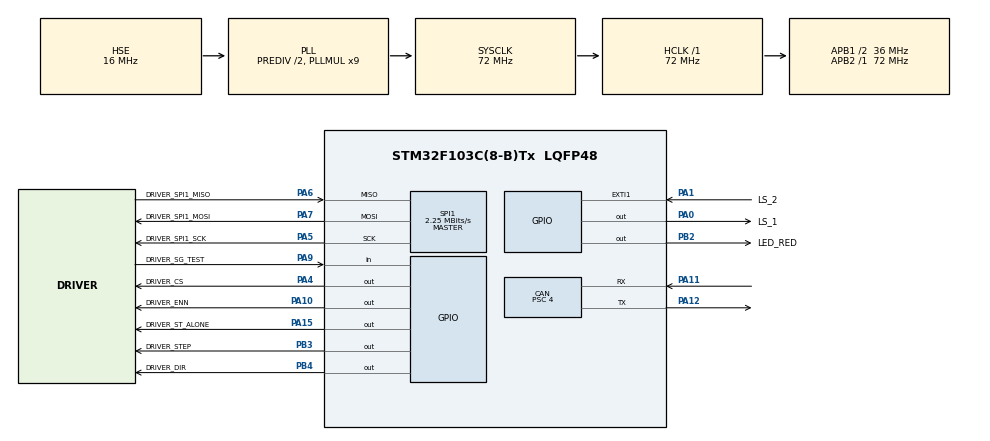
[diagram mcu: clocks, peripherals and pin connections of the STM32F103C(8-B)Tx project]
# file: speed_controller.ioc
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CAN.BS1=CAN_BS1_15TQ
CAN.BS2=CAN_BS2_2TQ
CAN.CalculateBaudRate=500000
CAN.CalculateTimeBit=2000
CAN.CalculateTimeQuantum=111.11111111111111
CAN.NART=ENABLE
CAN.Prescaler=4
CAN.SJW=CAN_SJW_2TQ
Mcu.Family=STM32F1
Mcu.Name=STM32F103C(8-B)Tx
Mcu.Package=LQFP48
NVIC.EXTI1_IRQn=true\:1\:0\:true\:false\:true\:true\:true\:true
NVIC.PriorityGroup=NVIC_PRIORITYGROUP_4
NVIC.USB_LP_CAN1_RX0_IRQn=true\:0\:0\:false\:false\:true\:true\:true\:true
PA0-WKUP.GPIO_Label=LS_1
PA0-WKUP.Signal=GPIO_Output
PA1.GPIO_Label=LS_2
PA1.GPIO_ModeDefaultEXTI=GPIO_MODE_IT_RISING_FALLING
PA1.GPIO_PuPd=GPIO_PULLUP
PA1.Signal=GPXTI1
PA10.GPIO_Label=DRIVER_ENN
PA10.Signal=GPIO_Output
PA11.Mode=CAN_Activate
PA11.Signal=CAN_RX
PA12.Mode=CAN_Activate
PA12.Signal=CAN_TX
PA13.GPIO_Label=J7_SWDIO
PA13.Mode=Serial_Wire
PA13.Signal=SYS_JTMS-SWDIO
PA14.GPIO_Label=J7_SWCLK
PA14.Mode=Serial_Wire
PA14.Signal=SYS_JTCK-SWCLK
PA15.GPIO_Label=DRIVER_ST_ALONE
PA15.Signal=GPIO_Output
PA4.GPIO_Label=DRIVER_CS
PA4.Signal=GPIO_Output
PA5.GPIO_Label=DRIVER_SPI1_SCK
PA5.Mode=Full_Duplex_Master
PA5.Signal=SPI1_SCK
PA6.GPIO_Label=DRIVER_SPI1_MISO
PA6.Mode=Full_Duplex_Master
PA6.Signal=SPI1_MISO
PA7.GPIO_Label=DRIVER_SPI1_MOSI
PA7.Mode=Full_Duplex_Master
PA7.Signal=SPI1_MOSI
PA9.GPIO_Label=DRIVER_SG_TEST
PA9.Signal=GPIO_Input
PB2.GPIO_Label=LED_RED
PB2.Signal=GPIO_Output
PB3.GPIO_Label=DRIVER_STEP
PB3.Signal=GPIO_Output
PB4.GPIO_Label=DRIVER_DIR
PB4.Signal=GPIO_Output
PD0-OSC_IN.Mode=HSE-External-Oscillator
PD0-OSC_IN.Signal=RCC_OSC_IN
PD1-OSC_OUT.Mode=HSE-External-Oscillator
PD1-OSC_OUT.Signal=RCC_OSC_OUT
ProjectManager.HeapSize=0x200
ProjectManager.StackSize=0x400
ProjectManager.TargetToolchain=STM32CubeIDE
RCC.AHBFreq_Value=72000000
RCC.APB1CLKDivider=RCC_HCLK_DIV2
RCC.APB1Freq_Value=36000000
RCC.APB1TimFreq_Value=72000000
RCC.APB2Freq_Value=72000000
RCC.APB2TimFreq_Value=72000000
RCC.HCLKFreq_Value=72000000
RCC.HSEDivPLL=RCC_HSE_PREDIV_DIV2
RCC.HSE_VALUE=16000000
RCC.PLLMUL=RCC_PLL_MUL9
RCC.PLLSourceVirtual=RCC_PLLSOURCE_HSE
RCC.SYSCLKFreq_VALUE=72000000
RCC.SYSCLKSource=RCC_SYSCLKSOURCE_PLLCLK
RCC.USBFreq_Value=72000000
SPI1.BaudRatePrescaler=SPI_BAUDRATEPRESCALER_32
SPI1.CalculateBaudRate=2.25 MBits/s
SPI1.Direction=SPI_DIRECTION_2LINES
SPI1.Mode=SPI_MODE_MASTER
SPI1.VirtualType=VM_MASTER
board=custom

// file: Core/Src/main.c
/* USER CODE BEGIN Header */
/**
  ******************************************************************************
  * @file           : main.c
  * @brief          : Main program body
  ******************************************************************************
  * @attention
  *
  * Copyright (c) 2024 STMicroelectronics.
  * All rights reserved.
  *
  * This software is licensed under terms that can be found in the LICENSE file
  * in the root directory of this software component.
  * If no LICENSE file comes with this software, it is provided AS-IS.
  *
  ******************************************************************************
  */
/* USER CODE END Header */
#include "main.h"

/* USER CODE BEGIN PM */
//#define LS_INVERT_DIR
/* USER CODE END PM */

CAN_HandleTypeDef hcan;

SPI_HandleTypeDef hspi1;

/* USER CODE BEGIN PV */
CAN_TxHeaderTypeDef TxHeader;
uint8_t TxData[8];
uint32_t TxMailbox;

// CAN Rx
CAN_FilterTypeDef canfilterconfig;
CAN_RxHeaderTypeDef RxHeader;
uint8_t RxData[8];
int speed;
uint32_t timer;
LS_STATE ls_state = RELEASED;

uint8_t can_id = 0x2;
/* USER CODE END PV */

void SystemClock_Config(void);
static void MX_GPIO_Init(void);
static void MX_SPI1_Init(void);
static void MX_CAN_Init(void);

/* USER CODE BEGIN 0 */

void setupTxCAN()
{
    TxHeader.StdId = 0x321;
    TxHeader.ExtId = can_id;
    TxHeader.RTR = CAN_RTR_DATA;
    TxHeader.IDE = CAN_ID_EXT;
    TxHeader.DLC = 8;
    TxHeader.TransmitGlobalTime = DISABLE;

    TxData[0] = 0xA0;
    TxData[1] = 0xA1;
    TxData[2] = 0xA2;
    TxData[3] = 0xA3;
    TxData[4] = 0xA4;
    TxData[5] = 0xA5;
    TxData[6] = 0xA6;
    TxData[7] = 0xA9;
}

void setupRxCAN()
{
    canfilterconfig.FilterBank = 0;
    canfilterconfig.FilterMode = CAN_FILTERMODE_IDMASK;
    canfilterconfig.FilterScale = CAN_FILTERSCALE_32BIT;
    canfilterconfig.FilterIdHigh = 0x0000;
    canfilterconfig.FilterIdLow = ((can_id) << 8 | 0x0054) << 3;
    canfilterconfig.FilterMaskIdHigh = 0x0000;
    canfilterconfig.FilterMaskIdLow = (0x07FE) << 3;
    canfilterconfig.FilterFIFOAssignment = CAN_RX_FIFO0;
    canfilterconfig.FilterActivation = ENABLE;
    canfilterconfig.SlaveStartFilterBank = 14;

    HAL_CAN_ConfigFilter(&hcan, &canfilterconfig);
    HAL_CAN_ActivateNotification(&hcan, CAN_IT_RX_FIFO0_MSG_PENDING); //enable interrupts
}

void txCAN()
{
    HAL_StatusTypeDef can_result = HAL_CAN_AddTxMessage(&hcan, &TxHeader,
            TxData, &TxMailbox);
    if (can_result != HAL_OK)
    {
        Error_Handler();
    }
}

void HAL_CAN_RxFifo0MsgPendingCallback(CAN_HandleTypeDef *CanHandle)
{
    /* Get RX message */
    if (HAL_CAN_GetRxMessage(CanHandle, CAN_RX_FIFO0, &RxHeader, RxData)
            != HAL_OK)
    {
        /* Reception Error */
        Error_Handler();
    }

    timer = 0;

//    HAL_GPIO_TogglePin(GPIOB, GPIO_PIN_2);
    // Echo received CAN message

    //RxData[7] = RxData[7] + 1;
    HAL_CAN_AddTxMessage(&hcan, &TxHeader, RxData, &TxMailbox);

    if ((RxHeader.ExtId & 0xFF) == 0x54)
    {
    	//counter clockwise

    	if (RxData[7] != 0)
    	{
    		speed = 0 + RxData[7];
    	}
    	else
    	{
    		speed = 0;
    	}
    }
    else if ((RxHeader.ExtId & 0xFF) == 0x55)
    {
    	//clockwise clockwise

    	if (RxData[7] != 0)
    	{
    		speed = 0 - RxData[7];
    	}
    	else
    	{
    		speed = 0;
    	}
    }
}

uint32_t getUs(void)
{

    uint32_t usTicks = HAL_RCC_GetSysClockFreq() / 1000000;

    register uint32_t ms, cycle_cnt;
    do
    {
        ms = HAL_GetTick();
        cycle_cnt = SysTick->VAL;
    } while (ms != HAL_GetTick());
    return (ms * 1000) + (usTicks * 1000 - cycle_cnt) / usTicks;
}

void delayUs(uint16_t micros)
{
    uint32_t start = getUs();
    while (getUs() - start < (uint32_t) micros)
    {
        asm("nop");
    }
}

/* USER CODE END 0 */

int main(void)
{

  /* MCU Configuration--------------------------------------------------------*/

  /* Reset of all peripherals, Initializes the Flash interface and the Systick. */
  HAL_Init();

  /* Configure the system clock */
  SystemClock_Config();

  /* Initialize all configured peripherals */
  MX_GPIO_Init();
  MX_SPI1_Init();
  MX_CAN_Init();
  /* USER CODE BEGIN 2 */

    HAL_GPIO_WritePin(GPIOA, GPIO_PIN_10, GPIO_PIN_RESET); // Motor driver chip enable
    HAL_GPIO_WritePin(GPIOA, GPIO_PIN_15, GPIO_PIN_RESET); // disable stand alone mode
    HAL_GPIO_WritePin(GPIOA, GPIO_PIN_4, GPIO_PIN_SET); // CS

    HAL_GPIO_WritePin(GPIOB, GPIO_PIN_4, GPIO_PIN_RESET); // set DIR
	HAL_GPIO_WritePin(GPIOB, GPIO_PIN_3, GPIO_PIN_RESET); // STEP

    uint32_t SPImsg = 0;
    uint8_t SPImsg_bytes[3];

//  uint32_t SPIread;
    uint8_t SPIread_bytes[3];

    HAL_StatusTypeDef spi_status;

    // Bits 19, 18, 17
    // 111 DRVCONF (0b111 << 17)
    // 110 SGCSCONF (0b110 << 17)
    // 101 SMARTEN (0b101 << 17)
    // 100 CHOPCONF (0b100 << 17)
    // 00X DRVCTRL (0b00 << 18)

    /* DRVCONF */
    SPImsg = 0;
    SPImsg |= (0b111 << 17); // DRVCONF
    SPImsg |= (0b0 << 16); // TST: test mode
    SPImsg |= (0b11110 << 11); // SLP: Slope control
    SPImsg |= (0b0 << 10); // DIS_S2G: Short to ground protection
    SPImsg |= (0b00 << 8); // TS2G: Short detection delay
    SPImsg |= (0b0 << 7); // SDOFF: step/dir interface
    SPImsg |= (0b0 << 6); // VSENSE: full-scale sense resistor voltage setting
    SPImsg |= (0b11 << 4); // RDSEL: read out select
    SPImsg |= (0b0 << 3); // OTSENS: overtemp shutdown setting
    SPImsg |= (0b1 << 2); // SHRTSENS: short to ground sensitivity
    SPImsg |= (0b1 << 1); // EN_PFD: passive fast delay setting
    SPImsg |= (0b1 << 0); // EN_S2VS: Short to VS protection

    SPImsg_bytes[2] = (uint8_t) (SPImsg & 0xFF);
    SPImsg_bytes[1] = (uint8_t) ((SPImsg & 0xFF00) >> 8);
    SPImsg_bytes[0] = (uint8_t) ((SPImsg & 0xFF0000) >> 16);

    HAL_GPIO_WritePin(GPIOA, GPIO_PIN_4, GPIO_PIN_RESET);
    spi_status = HAL_SPI_TransmitReceive(&hspi1, SPImsg_bytes, SPIread_bytes, 3,
            1000);
    HAL_GPIO_WritePin(GPIOA, GPIO_PIN_4, GPIO_PIN_SET);

    /* SGCSCONF */
    SPImsg = 0;
    SPImsg |= (0b110 << 17); // SGCSCONF
    SPImsg |= (0b0 << 16); // SFILT: stall guard filter
    SPImsg |= (0b0000010 << 8); // SGT: stall guard threshold
    SPImsg |= (10 << 0); // CS: current scale

    SPImsg_bytes[2] = (uint8_t) (SPImsg & 0xFF);
    SPImsg_bytes[1] = (uint8_t) ((SPImsg & 0xFF00) >> 8);
    SPImsg_bytes[0] = (uint8_t) ((SPImsg & 0xFF0000) >> 16);

    HAL_GPIO_WritePin(GPIOA, GPIO_PIN_4, GPIO_PIN_RESET);
    spi_status = HAL_SPI_TransmitReceive(&hspi1, SPImsg_bytes, SPIread_bytes, 3,
            1000);
    HAL_GPIO_WritePin(GPIOA, GPIO_PIN_4, GPIO_PIN_SET);

    /* SMARTEN */
    SPImsg = 0;
    SPImsg |= (0b101 << 17); // SMARTEN
    SPImsg |= (0b0 << 15); // SEIMIN: min cool step current
    SPImsg |= (0b00 << 13); // SEDN: current dec. speed
    SPImsg |= (0b0000 << 8); // SEMAX: upper cool step threshold offset
    SPImsg |= (0b00 << 5); // SEUP: current increment size
    SPImsg |= (0b0000 << 0); // SEMIN: cool step lower threshold

    SPImsg_bytes[2] = (uint8_t) (SPImsg & 0xFF);
    SPImsg_bytes[1] = (uint8_t) ((SPImsg & 0xFF00) >> 8);
    SPImsg_bytes[0] = (uint8_t) ((SPImsg & 0xFF0000) >> 16);

    HAL_GPIO_WritePin(GPIOA, GPIO_PIN_4, GPIO_PIN_RESET);
    spi_status = HAL_SPI_TransmitReceive(&hspi1, SPImsg_bytes, SPIread_bytes, 3,
            1000);
    HAL_GPIO_WritePin(GPIOA, GPIO_PIN_4, GPIO_PIN_SET);

    /* CHOPCONF */
    SPImsg = 0;
    SPImsg |= (0b100 << 17); // CHOPCONF
    SPImsg |= (0b10 << 15); // TBL: blanking time
    SPImsg |= (0b0 << 14); // CHM: chopper mode
    SPImsg |= (0b0 << 13); // RNDTF: Random TOFF time
    SPImsg |= (0b00 << 11); // HDEC: hysteresis decay or fast decay mode
    SPImsg |= (0b0100 << 7); // HEND: hysteresis end value
    SPImsg |= (0b110 << 4); // HSTRT: hysteresis start value
    SPImsg |= (0b0100 << 0); // TOFF: mosfet off time

    SPImsg_bytes[2] = (uint8_t) (SPImsg & 0xFF);
    SPImsg_bytes[1] = (uint8_t) ((SPImsg & 0xFF00) >> 8);
    SPImsg_bytes[0] = (uint8_t) ((SPImsg & 0xFF0000) >> 16);

    HAL_GPIO_WritePin(GPIOA, GPIO_PIN_4, GPIO_PIN_RESET);
    spi_status = HAL_SPI_TransmitReceive(&hspi1, SPImsg_bytes, SPIread_bytes, 3,
            1000);
    HAL_GPIO_WritePin(GPIOA, GPIO_PIN_4, GPIO_PIN_SET);

    /* DRVCTRL */
    SPImsg = 0;
    SPImsg |= (0b00 << 18); // DRVCTRL
    SPImsg |= (0b1 << 9); // INTPOL: step interpolation
    SPImsg |= (0b0 << 8); // DEDGE: Double edge step pulses
    SPImsg |= (0b0111 << 0); // MRES: Microsteps per fullstep

    SPImsg_bytes[2] = (uint8_t) (SPImsg & 0xFF);
    SPImsg_bytes[1] = (uint8_t) ((SPImsg & 0xFF00) >> 8);
    SPImsg_bytes[0] = (uint8_t) ((SPImsg & 0xFF0000) >> 16);

    HAL_GPIO_WritePin(GPIOA, GPIO_PIN_4, GPIO_PIN_RESET);
    spi_status = HAL_SPI_TransmitReceive(&hspi1, SPImsg_bytes, SPIread_bytes, 3,
            1000);
    HAL_GPIO_WritePin(GPIOA, GPIO_PIN_4, GPIO_PIN_SET);

  /* USER CODE END 2 */

  /* Infinite loop */
  /* USER CODE BEGIN WHILE */

    HAL_Delay(2000);

    setupTxCAN();
    setupRxCAN();

    uint32_t prev = 0;
    uint32_t delay;

    //LOCK THE MOTOR WITH THIS SETTING:
    HAL_GPIO_WritePin(GPIOA, GPIO_PIN_10, GPIO_PIN_RESET); // Motor driver chip enable

	while (1) {
		timer += HAL_GetTick() - prev;
		prev = HAL_GetTick();

		if (speed == 0 || timer > 500)
		{
		    //HAL_GPIO_WritePin(GPIOA, GPIO_PIN_10, GPIO_PIN_SET); // Motor driver chip disable so we can free spin it

//			txCAN();

			HAL_Delay(10);
//			HAL_GPIO_TogglePin(GPIOB, GPIO_PIN_2);
		}
		else if (speed > 0)
		{
#ifndef LS_INVERT_DIR
			if (ls_state == PRESSED) continue;
#endif
		    //HAL_GPIO_WritePin(GPIOA, GPIO_PIN_10, GPIO_PIN_RESET); // Motor driver chip enable

			HAL_GPIO_WritePin(GPIOB, GPIO_PIN_4, GPIO_PIN_SET);

			delay = 100000/speed; //arbitrary speed calculation

			HAL_GPIO_TogglePin(GPIOB, GPIO_PIN_3); // STEP
//			HAL_GPIO_TogglePin(GPIOB, GPIO_PIN_2); //LED

			delayUs(delay);

		}
		else if (speed < 0)
		{
#ifdef LS_INVERT_DIR
			if (ls_state == PRESSED) continue;
#endif
		    //HAL_GPIO_WritePin(GPIOA, GPIO_PIN_10, GPIO_PIN_RESET); // Motor driver chip enable

			HAL_GPIO_WritePin(GPIOB, GPIO_PIN_4, GPIO_PIN_RESET);

			delay = 100000/ (-1*speed);

			HAL_GPIO_TogglePin(GPIOB, GPIO_PIN_3); // STEP
//			HAL_GPIO_TogglePin(GPIOB, GPIO_PIN_2); //LED

			delayUs(delay);
		}

	//HAL_Delay(1);

    /* USER CODE END WHILE */

  }
}

void SystemClock_Config(void)
{
  RCC_OscInitTypeDef RCC_OscInitStruct = {0};
  RCC_ClkInitTypeDef RCC_ClkInitStruct = {0};

  /** Initializes the RCC Oscillators according to the specified parameters
  * in the RCC_OscInitTypeDef structure.
  */
  RCC_OscInitStruct.OscillatorType = RCC_OSCILLATORTYPE_HSE;
  RCC_OscInitStruct.HSEState = RCC_HSE_ON;
  RCC_OscInitStruct.HSEPredivValue = RCC_HSE_PREDIV_DIV2;
  RCC_OscInitStruct.HSIState = RCC_HSI_ON;
  RCC_OscInitStruct.PLL.PLLState = RCC_PLL_ON;
  RCC_OscInitStruct.PLL.PLLSource = RCC_PLLSOURCE_HSE;
  RCC_OscInitStruct.PLL.PLLMUL = RCC_PLL_MUL9;
  if (HAL_RCC_OscConfig(&RCC_OscInitStruct) != HAL_OK)
  {
    Error_Handler();
  }

  /** Initializes the CPU, AHB and APB buses clocks
  */
  RCC_ClkInitStruct.ClockType = RCC_CLOCKTYPE_HCLK|RCC_CLOCKTYPE_SYSCLK
                              |RCC_CLOCKTYPE_PCLK1|RCC_CLOCKTYPE_PCLK2;
  RCC_ClkInitStruct.SYSCLKSource = RCC_SYSCLKSOURCE_PLLCLK;
  RCC_ClkInitStruct.AHBCLKDivider = RCC_SYSCLK_DIV1;
  RCC_ClkInitStruct.APB1CLKDivider = RCC_HCLK_DIV2;
  RCC_ClkInitStruct.APB2CLKDivider = RCC_HCLK_DIV1;

  if (HAL_RCC_ClockConfig(&RCC_ClkInitStruct, FLASH_LATENCY_2) != HAL_OK)
  {
    Error_Handler();
  }
}

static void MX_CAN_Init(void)
{

  hcan.Instance = CAN1;
  hcan.Init.Prescaler = 4;
  hcan.Init.Mode = CAN_MODE_NORMAL;
  hcan.Init.SyncJumpWidth = CAN_SJW_2TQ;
  hcan.Init.TimeSeg1 = CAN_BS1_15TQ;
  hcan.Init.TimeSeg2 = CAN_BS2_2TQ;
  hcan.Init.TimeTriggeredMode = DISABLE;
  hcan.Init.AutoBusOff = DISABLE;
  hcan.Init.AutoWakeUp = DISABLE;
  hcan.Init.AutoRetransmission = ENABLE;
  hcan.Init.ReceiveFifoLocked = DISABLE;
  hcan.Init.TransmitFifoPriority = DISABLE;
  if (HAL_CAN_Init(&hcan) != HAL_OK)
  {
    Error_Handler();
  }
  /* USER CODE BEGIN CAN_Init 2 */

  if (HAL_CAN_Start(&hcan) != HAL_OK)
      {
          /* Start Error */
          Error_Handler();
      }
  /* USER CODE END CAN_Init 2 */

}

static void MX_SPI1_Init(void)
{

  /* SPI1 parameter configuration*/
  hspi1.Instance = SPI1;
  hspi1.Init.Mode = SPI_MODE_MASTER;
  hspi1.Init.Direction = SPI_DIRECTION_2LINES;
  hspi1.Init.DataSize = SPI_DATASIZE_8BIT;
  hspi1.Init.CLKPolarity = SPI_POLARITY_LOW;
  hspi1.Init.CLKPhase = SPI_PHASE_1EDGE;
  hspi1.Init.NSS = SPI_NSS_SOFT;
  hspi1.Init.BaudRatePrescaler = SPI_BAUDRATEPRESCALER_32;
  hspi1.Init.FirstBit = SPI_FIRSTBIT_MSB;
  hspi1.Init.TIMode = SPI_TIMODE_DISABLE;
  hspi1.Init.CRCCalculation = SPI_CRCCALCULATION_DISABLE;
  hspi1.Init.CRCPolynomial = 10;
  if (HAL_SPI_Init(&hspi1) != HAL_OK)
  {
    Error_Handler();
  }

}

static void MX_GPIO_Init(void)
{
  GPIO_InitTypeDef GPIO_InitStruct = {0};

  /* GPIO Ports Clock Enable */
  __HAL_RCC_GPIOD_CLK_ENABLE();
  __HAL_RCC_GPIOA_CLK_ENABLE();
  __HAL_RCC_GPIOB_CLK_ENABLE();

  /*Configure GPIO pin Output Level */
  HAL_GPIO_WritePin(GPIOA, LS_1_Pin|DRIVER_CS_Pin|DRIVER_ENN_Pin|DRIVER_ST_ALONE_Pin, GPIO_PIN_RESET);

  /*Configure GPIO pin Output Level */
  HAL_GPIO_WritePin(GPIOB, LED_RED_Pin|DRIVER_STEP_Pin|DRIVER_DIR_Pin, GPIO_PIN_RESET);

  /*Configure GPIO pins : LS_1_Pin DRIVER_CS_Pin DRIVER_ENN_Pin DRIVER_ST_ALONE_Pin */
  GPIO_InitStruct.Pin = LS_1_Pin|DRIVER_CS_Pin|DRIVER_ENN_Pin|DRIVER_ST_ALONE_Pin;
  GPIO_InitStruct.Mode = GPIO_MODE_OUTPUT_PP;
  GPIO_InitStruct.Pull = GPIO_NOPULL;
  GPIO_InitStruct.Speed = GPIO_SPEED_FREQ_LOW;
  HAL_GPIO_Init(GPIOA, &GPIO_InitStruct);

  /*Configure GPIO pin : LS_2_Pin */
  GPIO_InitStruct.Pin = LS_2_Pin;
  GPIO_InitStruct.Mode = GPIO_MODE_IT_RISING_FALLING;
  GPIO_InitStruct.Pull = GPIO_PULLUP;
  HAL_GPIO_Init(LS_2_GPIO_Port, &GPIO_InitStruct);

  /*Configure GPIO pins : LED_RED_Pin DRIVER_STEP_Pin DRIVER_DIR_Pin */
  GPIO_InitStruct.Pin = LED_RED_Pin|DRIVER_STEP_Pin|DRIVER_DIR_Pin;
  GPIO_InitStruct.Mode = GPIO_MODE_OUTPUT_PP;
  GPIO_InitStruct.Pull = GPIO_NOPULL;
  GPIO_InitStruct.Speed = GPIO_SPEED_FREQ_LOW;
  HAL_GPIO_Init(GPIOB, &GPIO_InitStruct);

  /*Configure GPIO pin : DRIVER_SG_TEST_Pin */
  GPIO_InitStruct.Pin = DRIVER_SG_TEST_Pin;
  GPIO_InitStruct.Mode = GPIO_MODE_INPUT;
  GPIO_InitStruct.Pull = GPIO_NOPULL;
  HAL_GPIO_Init(DRIVER_SG_TEST_GPIO_Port, &GPIO_InitStruct);

  /* EXTI interrupt init*/
  HAL_NVIC_SetPriority(EXTI1_IRQn, 1, 0);
  HAL_NVIC_EnableIRQ(EXTI1_IRQn);

}

/* USER CODE BEGIN 4 */
void HAL_GPIO_EXTI_Callback(uint16_t GPIO_Pin)
{
	if (GPIO_Pin == LS_2_Pin)
	{
		if (HAL_GPIO_ReadPin(LS_2_GPIO_Port, GPIO_Pin) == GPIO_PIN_SET)
		{
			ls_state = PRESSED;
			HAL_GPIO_WritePin(GPIOB, GPIO_PIN_2, GPIO_PIN_SET);
		}
		else if (HAL_GPIO_ReadPin(LS_2_GPIO_Port, GPIO_Pin) == GPIO_PIN_RESET)
		{
			ls_state = RELEASED;
			HAL_GPIO_WritePin(GPIOB, GPIO_PIN_2, GPIO_PIN_RESET);
		}
	}
}
/* USER CODE END 4 */

void Error_Handler(void)
{
  /* USER CODE BEGIN Error_Handler_Debug */
  /* User can add his own implementation to report the HAL error return state */
  __disable_irq();

    uint32_t CAN_ERR = HAL_CAN_GetError(&hcan);

  while (1)
  {
  }
  /* USER CODE END Error_Handler_Debug */
}
